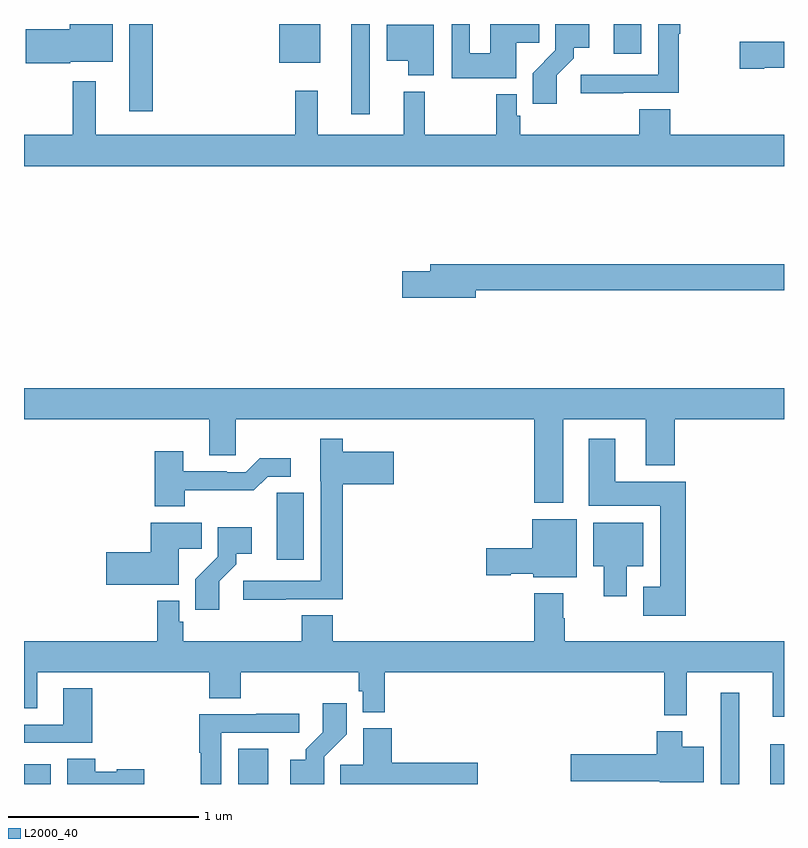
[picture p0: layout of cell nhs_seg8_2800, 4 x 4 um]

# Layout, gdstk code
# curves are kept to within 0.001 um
import gdstk
lib = gdstk.Library(unit=1e-6, precision=1e-09)
def R(c, l, rs):  # rectangles x0, y0, x1, y1
    for r in rs: c.add(gdstk.rectangle(r[:2], r[2:], *l))
def P(c, l, *ps):  # polygons
    for p in ps: c.add(gdstk.Polygon(p, *l))
L2000_40 = (2000, 40)

nhs_seg8_2800 = lib.new_cell('nhs_seg8_2800')
R(nhs_seg8_2800, L2000_40, [(287,1127.9,287.14,1128.004), (288.128,1127.9,288.286,1128.086), (290.667,1127.9,290.764,1128.379), (290.927,1127.9,291,1128.109), (288.722,1131.426,288.819,1131.9), (287.555,1131.441,287.677,1131.9), (288.344,1131.695,288.559,1131.9), (290.105,1131.744,290.248,1131.9)])
P(nhs_seg8_2800, L2000_40, [(290.153,1131.537),(290.446,1131.537),(290.446,1131.849),(290.453,1131.849),(290.453,1131.9),(290.337,1131.9),(290.337,1131.633),(289.929,1131.633),(289.929,1131.535),(290.153,1131.535)],
  [(289.804,1131.631),(289.894,1131.721),(289.894,1131.776),(289.975,1131.776),(289.975,1131.9),(289.797,1131.9),(289.797,1131.761),(289.678,1131.642),(289.678,1131.48),(289.804,1131.48)],
  [(287.244,1131.701),(287.467,1131.701),(287.467,1131.9),(287.24,1131.9),(287.24,1131.872),(287.01,1131.872),(287.01,1131.694),(287.244,1131.694)],
  [(289.591,1131.802),(289.712,1131.802),(289.712,1131.9),(289.454,1131.9),(289.454,1131.746),(289.347,1131.746),(289.347,1131.9),(289.251,1131.9),(289.251,1131.614),(289.591,1131.614)],
  [(289.156,1131.895),(288.908,1131.895),(288.908,1131.707),(289.022,1131.707),(289.022,1131.629),(289.156,1131.629)],
  [(290.895,1131.671),(291,1131.671),(291,1131.806),(290.766,1131.806),(290.766,1131.664),(290.895,1131.664)],
  [(291,1131.316),(290.402,1131.316),(290.402,1131.452),(290.237,1131.452),(290.237,1131.316),(289.613,1131.316),(289.613,1131.417),(289.593,1131.417),(289.593,1131.529),(289.485,1131.529),(289.485,1131.316),(289.108,1131.316),(289.108,1131.544),(288.998,1131.544),(288.998,1131.316),(288.545,1131.316),(288.545,1131.55),(288.427,1131.55),(288.427,1131.316),(287.377,1131.316),(287.377,1131.598),(287.256,1131.598),(287.256,1131.316),(287,1131.316),(287,1131.152),(291,1131.152)],
  [(289.378,1130.5),(291,1130.5),(291,1130.636),(289.139,1130.636),(289.139,1130.6),(288.99,1130.6),(288.99,1130.458),(289.378,1130.458)],
  [(289.837,1129.82),(290.273,1129.82),(290.273,1129.577),(290.426,1129.577),(290.426,1129.82),(291,1129.82),(291,1129.984),(287,1129.984),(287,1129.82),(287.975,1129.82),(287.975,1129.63),(288.114,1129.63),(288.114,1129.82),(289.685,1129.82),(289.685,1129.379),(289.837,1129.379)],
  [(290.483,1129.492),(290.113,1129.492),(290.113,1129.717),(289.973,1129.717),(289.973,1129.364),(290.348,1129.364),(290.348,1128.937),(290.258,1128.937),(290.258,1128.785),(290.483,1128.785)],
  [(288.377,1128.873),(288.677,1128.873),(288.677,1129.478),(288.946,1129.478),(288.946,1129.648),(288.677,1129.648),(288.677,1129.717),(288.56,1129.717),(288.56,1129.494),(288.561,1129.494),(288.561,1128.969),(288.153,1128.969),(288.153,1128.871),(288.377,1128.871)],
  [(287.847,1129.446),(288.209,1129.445),(288.282,1129.518),(288.403,1129.518),(288.403,1129.615),(288.241,1129.615),(288.168,1129.542),(288.068,1129.542),(288.068,1129.545),(287.839,1129.545),(287.839,1129.651),(287.687,1129.651),(287.687,1129.361),(287.847,1129.361)],
  [(288.472,1129.433),(288.33,1129.433),(288.33,1129.322),(288.329,1129.322),(288.329,1129.08),(288.472,1129.08)],
  [(289.909,1129.294),(289.676,1129.294),(289.676,1129.142),(289.434,1129.142),(289.434,1129),(289.563,1129),(289.563,1129.007),(289.68,1129.007),(289.68,1128.989),(289.909,1128.989)],
  [(290.173,1129.046),(290.26,1129.046),(290.26,1129.276),(289.997,1129.276),(289.997,1129.046),(290.051,1129.046),(290.051,1128.888),(290.173,1128.888)],
  [(287.815,1129.138),(287.936,1129.138),(287.936,1129.276),(287.666,1129.276),(287.666,1129.121),(287.433,1129.121),(287.433,1128.95),(287.815,1128.95)],
  [(288.028,1128.967),(288.118,1129.057),(288.118,1129.112),(288.199,1129.112),(288.199,1129.252),(288.021,1129.252),(288.021,1129.097),(287.902,1128.978),(287.902,1128.816),(288.028,1128.816)],
  [(291,1128.652),(289.845,1128.652),(289.845,1128.773),(289.837,1128.773),(289.837,1128.904),(289.685,1128.904),(289.685,1128.652),(288.626,1128.652),(288.626,1128.788),(288.461,1128.788),(288.461,1128.652),(287.837,1128.652),(287.837,1128.753),(287.817,1128.753),(287.817,1128.865),(287.701,1128.865),(287.701,1128.652),(287,1128.652),(287,1128.298),(287.071,1128.298),(287.071,1128.488),(287.975,1128.488),(287.975,1128.352),(288.14,1128.352),(288.14,1128.488),(288.763,1128.488),(288.763,1128.387),(288.783,1128.387),(288.783,1128.278),(288.899,1128.278),(288.899,1128.488),(290.371,1128.488),(290.371,1128.263),(290.489,1128.263),(290.489,1128.488),(290.942,1128.488),(290.942,1128.255),(291,1128.255)],
  [(287.36,1128.403),(287.207,1128.403),(287.207,1128.213),(287,1128.213),(287,1128.117),(287.36,1128.117)],
  [(288.579,1128.043),(288.698,1128.162),(288.698,1128.325),(288.573,1128.325),(288.573,1128.173),(288.482,1128.083),(288.482,1128.028),(288.402,1128.028),(288.402,1127.9),(288.579,1127.9)],
  [(288.039,1128.171),(288.448,1128.171),(288.448,1128.27),(288.223,1128.27),(288.223,1128.267),(287.923,1128.267),(287.923,1128.064),(287.931,1128.064),(287.931,1127.9),(288.039,1127.9)],
  [(289.387,1128.012),(288.935,1128.012),(288.935,1128.193),(288.785,1128.193),(288.785,1128.002),(288.664,1128.002),(288.664,1127.9),(289.387,1127.9)],
  [(290.578,1128.097),(290.464,1128.097),(290.464,1128.178),(290.33,1128.178),(290.33,1128.057),(289.878,1128.057),(289.878,1127.915),(290.346,1127.915),(290.346,1127.909),(290.578,1127.909)],
  [(287.632,1127.978),(287.489,1127.978),(287.489,1127.965),(287.375,1127.965),(287.375,1128.032),(287.228,1128.032),(287.228,1127.9),(287.632,1127.9)])

lib.write_gds('nhs_seg8_2800.gds')
